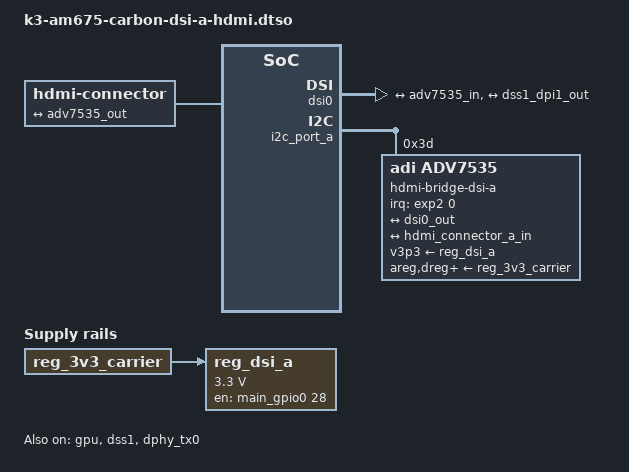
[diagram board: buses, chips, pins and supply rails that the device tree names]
// SPDX-License-Identifier: GPL-2.0-only OR MIT
/*
 * DSI A to HDMI Expansion Board for Carbon AM67x
 *
 * Copyright (C) 2025 Ezurio LLC
 */

/dts-v1/;
/plugin/;

#include <dt-bindings/gpio/gpio.h>
#include <dt-bindings/interrupt-controller/irq.h>
#include "k3-pinctrl.h"

&{/} {
	hdmi-connector-a {
		compatible = "hdmi-connector";
		label = "hdmi";
		type = "a";

		port {
			hdmi_connector_a_in: endpoint {
				remote-endpoint = <&adv7535_out>;
			};
		};
	};

	reg_dsi_a: regulator-dsi-a {
		compatible = "regulator-fixed";
		regulator-name = "reg_dsi_a";
		regulator-min-microvolt = <3300000>;
		regulator-max-microvolt = <3300000>;

		vin-supply = <&reg_3v3_carrier>;

		pinctrl-names = "default";
		pinctrl-0 = <&main_dsi_a_power_default>;
		gpios = <&main_gpio0 28 GPIO_ACTIVE_HIGH>;
		enable-active-high;
		startup-delay-us = <10000>;
		regulator-always-on;
	};
};

&gpu {
	status = "okay";
};

&dss1 {
	status = "okay";
};

&dss1_ports {
	#address-cells = <1>;
	#size-cells = <0>;

	/* Video Port 2 Output to DSI */
	port@1 {
		reg = <1>;

		dss1_dpi1_out: endpoint {
			remote-endpoint = <&dsi0_in>;
		};
	};
};

&dphy_tx0 {
	status = "okay";
};

&dsi0 {
	status = "okay";

	#address-cells = <1>;
	#size-cells = <0>;

	ports {
		#address-cells = <1>;
		#size-cells = <0>;

		port@0 {
			reg = <0>;

			dsi0_out: endpoint {
				remote-endpoint = <&adv7535_in>;
			};
		};

		port@1 {
			reg = <1>;

			dsi0_in: endpoint {
				remote-endpoint = <&dss1_dpi1_out>;
			};
		};
	};
};

&i2c_port_a {
	#address-cells = <1>;
	#size-cells = <0>;

	hdmi-bridge-dsi-a@3d {
		compatible = "adi,adv7535";
		reg = <0x3d>;
		interrupts-extended = <&exp2 0 IRQ_TYPE_EDGE_FALLING>;
		adi,dsi-lanes = <4>;
		v3p3-supply = <&reg_dsi_a>;

		areg-supply = <&reg_3v3_carrier>;
		dreg-supply = <&reg_3v3_carrier>;
		preg-supply = <&reg_3v3_carrier>;
		a2reg-supply = <&reg_3v3_carrier>;
		v1p2-supply = <&reg_3v3_carrier>;

		ports {
			#address-cells = <1>;
			#size-cells = <0>;

			port@0 {
				reg = <0>;

				adv7535_in: endpoint {
					remote-endpoint = <&dsi0_out>;
				};
			};

			port@1 {
				reg = <1>;

				adv7535_out: endpoint {
					remote-endpoint = <&hdmi_connector_a_in>;
				};
			};
		};
	};
};
